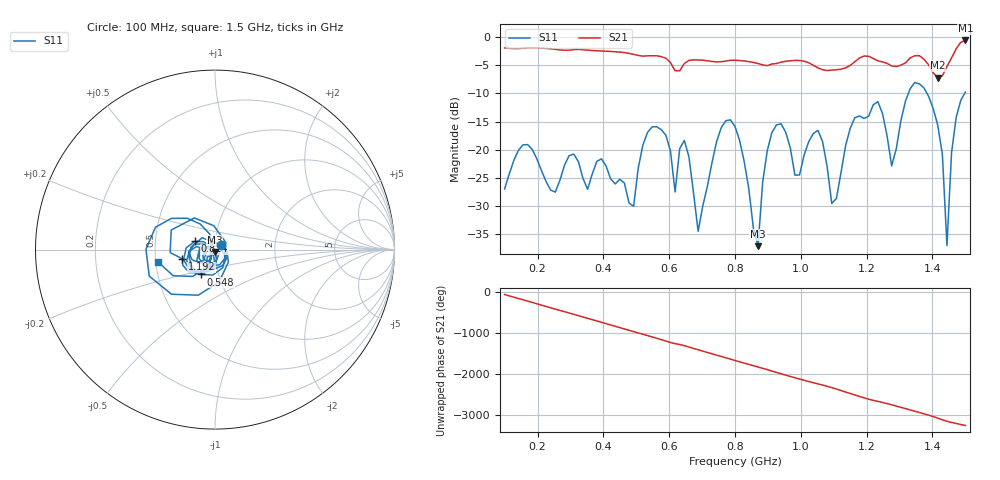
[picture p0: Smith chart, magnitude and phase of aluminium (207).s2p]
! NanoVNA-App
! Date: 2025-09-25 14:56:53
! Start: 100MHz Stop: 1,5GHz Points: 101
! S-Parameter data: F S11 S21 S12 S22
# Hz S RI R 50
!  Frequency  S11_Real  S11_Imag  S21_Real  S21_Imag  S12_Real  S12_Imag  S22_Real  S22_Imag
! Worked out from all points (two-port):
!   101 points, 100 MHz to 1.5 GHz, reference 50 ohm
!   highest |S21| = -0.59 dB at 1.5 GHz (marker M1); lowest = -7.2 dB at 1.416 GHz (marker M2)
!   |S21| within 3 dB of the highest: start of sweep to 582.4 MHz; 1.459 GHz to end of sweep (the widest 2 of 4)
!   lowest |S11| = -37.1 dB at 870 MHz (marker M3), VSWR 1.03, Z = 49.9 - j1.39 ohm
!   |S11| at or under -10 dB: start of sweep to 1.327 GHz; 1.383 GHz to 1.498 GHz (114.4 MHz wide, 7.94 % of centre)
!   S12 and S22 are empty: the file has one direction only
!   S11 on the Smith chart (normalised r, x): 100 MHz: 1.07, +0.06; 548 MHz: 0.82, -0.23; 814 MHz: 0.80, +0.07; 1.192 GHz: 0.69, -0.08; 1.5 GHz: 0.51, -0.08
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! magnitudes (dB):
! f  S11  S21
! 100 MHz  -27.0  -1.9
! 338 MHz  -25.1  -2.2
! 492 MHz  -30.0  -3.1
! 548 MHz  -15.9  -3.3
! 576 MHz  -16.4  -3.5
! 618 MHz  -27.5  -6.0
! 646 MHz  -18.3  -4.7
! 688 MHz  -34.5  -4.1
! 800 MHz  -15.9  -4.1
! 814 MHz  -18.3  -4.2
! 870 MHz  -37.1  -4.7
! 912 MHz  -17.0  -4.8
! 982 MHz  -24.5  -4.1
! 1.038 GHz  -17.1  -5.0
! 1.094 GHz  -29.5  -5.9
! 1.192 GHz  -14.4  -3.4
! 1.276 GHz  -22.9  -5.1
! 1.346 GHz  -8.1  -3.3
! 1.416 GHz  -15.6  -7.2
! 1.444 GHz  -37.0  -5.2
! 1.458 GHz  -20.5  -3.7
! 1.5 GHz  -9.8  -0.6
